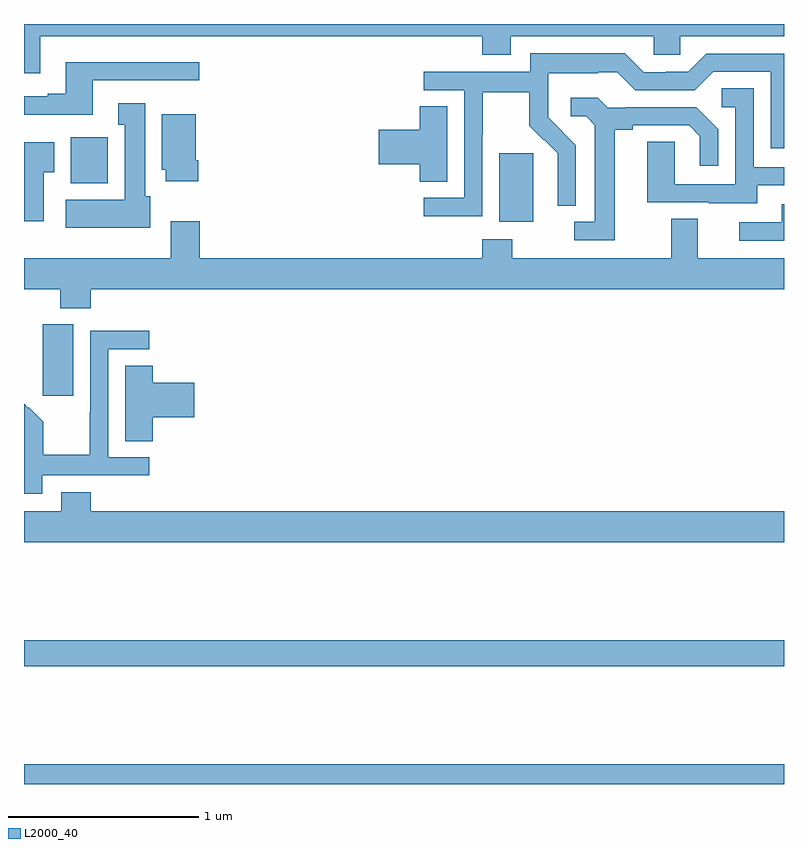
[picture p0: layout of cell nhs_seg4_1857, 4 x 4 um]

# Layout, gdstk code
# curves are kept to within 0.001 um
import gdstk
lib = gdstk.Library(unit=1e-6, precision=1e-09)
def R(c, l, rs):  # rectangles x0, y0, x1, y1
    for r in rs: c.add(gdstk.rectangle(r[:2], r[2:], *l))
def P(c, l, *ps):  # polygons
    for p in ps: c.add(gdstk.Polygon(p, *l))
L2000_40 = (2000, 40)

nhs_seg4_1857 = lib.new_cell('nhs_seg4_1857')
R(nhs_seg4_1857, L2000_40, [(207,776.9,211,777.004), (207,777.52,211,777.656), (207.098,778.944,207.259,779.32), (209.501,779.858,209.68,780.219), (207.245,780.062,207.442,780.304)])
P(nhs_seg4_1857, L2000_40, [(207.085,780.836),(209.411,780.836),(209.411,780.737),(209.563,780.737),(209.563,780.836),(210.315,780.836),(210.315,780.738),(210.453,780.738),(210.453,780.836),(211,780.836),(211,780.9),(207,780.9),(207,780.642),(207.085,780.642)],
  [(209.412,780.316),(209.415,780.316),(209.415,780.54),(209.659,780.54),(209.659,780.365),(209.736,780.288),(209.739,780.291),(209.81,780.221),(209.81,780.098),(209.808,780.098),(209.808,779.944),(209.904,779.944),(209.904,780.262),(209.758,780.41),(209.758,780.507),(209.76,780.507),(209.76,780.641),(210.023,780.641),(210.023,780.645),(210.123,780.645),(210.216,780.552),(210.531,780.552),(210.627,780.648),(210.93,780.648),(210.93,780.246),(211,780.246),(211,780.744),(210.591,780.744),(210.495,780.648),(210.377,780.648),(210.377,780.645),(210.261,780.645),(210.161,780.745),(209.664,780.745),(209.664,780.648),(209.103,780.648),(209.103,780.552),(209.316,780.552),(209.316,779.985),(209.103,779.985),(209.103,779.887),(209.412,779.887)],
  [(207.361,780.603),(207.922,780.603),(207.922,780.7),(207.221,780.7),(207.221,780.532),(207.125,780.532),(207.125,780.519),(207,780.519),(207,780.422),(207.361,780.422)],
  [(210.859,780.051),(211,780.051),(211,780.147),(210.84,780.147),(210.84,780.563),(210.672,780.563),(210.672,780.462),(210.744,780.462),(210.744,780.057),(210.426,780.057),(210.426,780.281),(210.281,780.281),(210.281,779.961),(210.605,779.961),(210.605,779.957),(210.859,779.957)],
  [(210.109,780.344),(210.205,780.344),(210.205,780.366),(210.5,780.366),(210.557,780.309),(210.557,780.153),(210.654,780.153),(210.654,780.346),(210.538,780.462),(210.166,780.462),(210.166,780.459),(210.072,780.459),(210.02,780.511),(209.877,780.511),(209.877,780.414),(209.958,780.414),(210.005,780.367),(210.005,779.859),(209.895,779.859),(209.895,779.763),(210.109,779.763)],
  [(207.664,779.994),(207.637,779.994),(207.637,780.484),(207.497,780.484),(207.497,780.371),(207.53,780.371),(207.53,779.974),(207.221,779.974),(207.221,779.828),(207.664,779.828)],
  [(209.227,780.467),(209.084,780.467),(209.084,780.344),(208.866,780.344),(208.866,780.161),(209.084,780.161),(209.084,780.07),(209.227,780.07)],
  [(207.917,780.184),(207.904,780.184),(207.904,780.424),(207.725,780.424),(207.725,780.132),(207.746,780.132),(207.746,780.072),(207.917,780.072)],
  [(207.103,780.121),(207.16,780.121),(207.16,780.277),(207,780.277),(207,779.862),(207.103,779.862)],
  [(211,779.952),(210.989,779.952),(210.989,779.856),(210.765,779.856),(210.765,779.76),(211,779.76)],
  [(207.35,779.504),(211,779.504),(211,779.668),(210.547,779.668),(210.547,779.876),(210.407,779.876),(210.407,779.668),(209.571,779.668),(209.571,779.767),(209.411,779.767),(209.411,779.668),(207.926,779.668),(207.926,779.863),(207.773,779.863),(207.773,779.668),(207,779.668),(207,779.504),(207.19,779.504),(207.19,779.405),(207.35,779.405)],
  [(207.096,778.524),(207.658,778.524),(207.658,778.62),(207.444,778.62),(207.444,779.187),(207.658,779.187),(207.658,779.286),(207.348,779.286),(207.348,778.856),(207.346,778.856),(207.346,778.633),(207.101,778.633),(207.101,778.807),(207.024,778.884),(207.021,778.881),(207,778.902),(207,778.764),(207.002,778.762),(207.002,778.665),(207,778.665),(207,778.427),(207.096,778.427)],
  [(207.677,778.829),(207.895,778.829),(207.895,779.012),(207.677,779.012),(207.677,779.102),(207.533,779.102),(207.533,778.705),(207.677,778.705)],
  [(211,778.336),(207.35,778.336),(207.35,778.435),(207.197,778.435),(207.197,778.336),(207,778.336),(207,778.172),(211,778.172)])

lib.write_gds('nhs_seg4_1857.gds')
